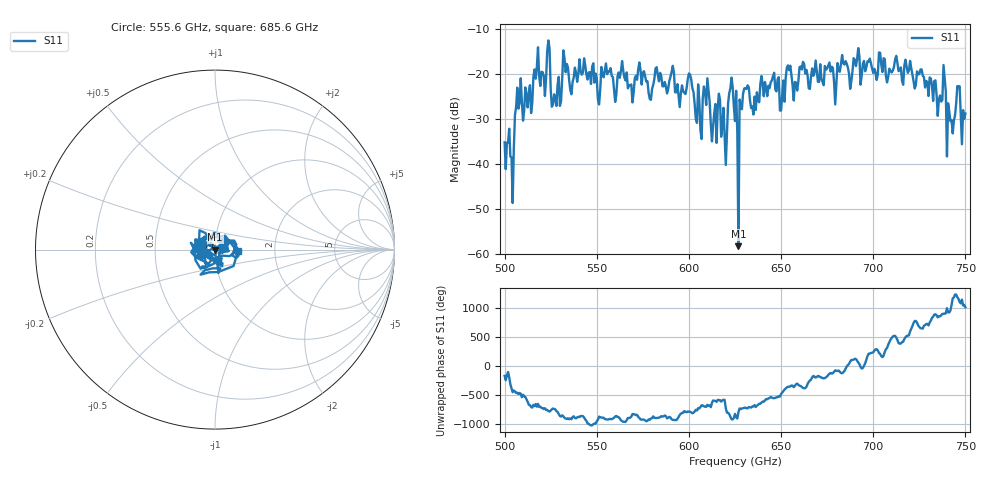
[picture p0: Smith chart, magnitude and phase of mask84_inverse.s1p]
!Created with skrf (http://scikit-rf.org).
# GHz S MA R 50.0
!freq magS11 angS11
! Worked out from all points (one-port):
!   401 points, 500 GHz to 750 GHz, reference 50 ohm
!   lowest |S11| = -58.3 dB at 626.9 GHz (marker M1), VSWR 1.00, Z = 50 - j0.117 ohm
!   |S11| at or under -10 dB: start of sweep to end of sweep
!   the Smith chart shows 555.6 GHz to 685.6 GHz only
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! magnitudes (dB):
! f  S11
! 500 GHz  -35.2
! 504.4 GHz  -48.7
! 507.5 GHz  -27.8
! 513.8 GHz  -22.6
! 516.9 GHz  -21.1
! 523.8 GHz  -12.6
! 526.9 GHz  -24.6
! 531.2 GHz  -21.1
! 562.5 GHz  -20.9
! 590.6 GHz  -19.6
! 593.8 GHz  -22.3
! 600.6 GHz  -20.2
! 605.6 GHz  -26.0
! 609.4 GHz  -27.0
! 618.8 GHz  -27.6
! 622.5 GHz  -23.2
! 625 GHz  -30.5
! 625.6 GHz  -23.8
! 626.9 GHz  -58.3
! 631.2 GHz  -23.4
! 635 GHz  -29.1
! 656.2 GHz  -22.7
! 687.5 GHz  -23.4
! 718.8 GHz  -19.8
! 738.1 GHz  -18.1
! 741.2 GHz  -28.4
! 745.6 GHz  -22.8
! 750 GHz  -28.8
